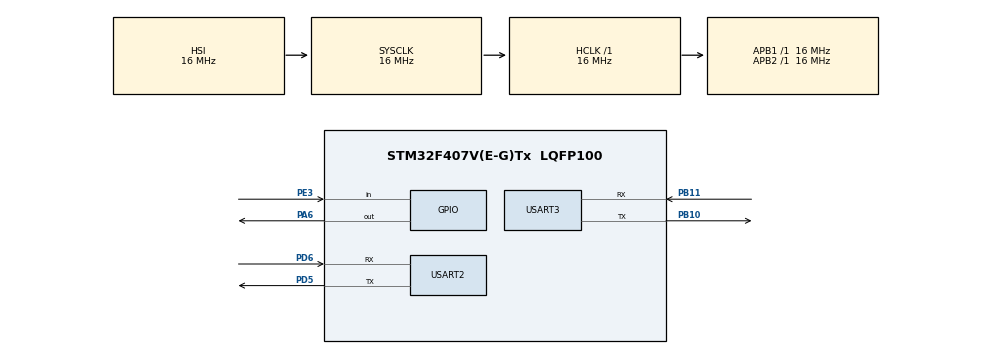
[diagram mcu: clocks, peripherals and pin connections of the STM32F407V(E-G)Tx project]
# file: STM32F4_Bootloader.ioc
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Mcu.Family=STM32F4
Mcu.Name=STM32F407V(E-G)Tx
Mcu.Package=LQFP100
NVIC.PriorityGroup=NVIC_PRIORITYGROUP_4
PA13.Mode=Serial_Wire
PA13.Signal=SYS_JTMS-SWDIO
PA14.Mode=Serial_Wire
PA14.Signal=SYS_JTCK-SWCLK
PA6.Signal=GPIO_Output
PB10.Mode=Asynchronous
PB10.Signal=USART3_TX
PB11.Mode=Asynchronous
PB11.Signal=USART3_RX
PD5.Mode=Asynchronous
PD5.Signal=USART2_TX
PD6.Mode=Asynchronous
PD6.Signal=USART2_RX
PE3.GPIO_PuPd=GPIO_PULLUP
PE3.Signal=GPIO_Input
ProjectManager.HeapSize=0x200
ProjectManager.StackSize=0x400
ProjectManager.TargetToolchain=STM32CubeIDE
RCC.AHBFreq_Value=16000000
RCC.APB1Freq_Value=16000000
RCC.APB2Freq_Value=16000000
RCC.CortexFreq_Value=16000000
RCC.HSE_VALUE=25000000
RCC.HSI_VALUE=16000000
RCC.LSE_VALUE=32768
RCC.SYSCLKFreq_VALUE=16000000
RCC.VCOOutputFreq_Value=192000000
USART2.VirtualMode=VM_ASYNC
USART3.VirtualMode=VM_ASYNC
board=custom

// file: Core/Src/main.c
/* USER CODE BEGIN Header */
/**
  ******************************************************************************
  * @file           : main.c
  * @brief          : Main program body
  ******************************************************************************
  * @attention
  *
  * Copyright (c) 2024 STMicroelectronics.
  * All rights reserved.
  *
  * This software is licensed under terms that can be found in the LICENSE file
  * in the root directory of this software component.
  * If no LICENSE file comes with this software, it is provided AS-IS.
  *
  ******************************************************************************
  */
/* USER CODE END Header */
#include "main.h"

/* USER CODE BEGIN Includes */
#include <stdio.h>
#include "ota_update.h"

/* USER CODE END Includes */

/* USER CODE BEGIN PM */
#define MAJOR 0   // BL Major version Number
#define MINOR 2   // BL Minor version Number
/* USER CODE END PM */

UART_HandleTypeDef huart2;
UART_HandleTypeDef huart3;

/* USER CODE BEGIN PV */
const uint8_t BL_Version[2] = { MAJOR, MINOR };
/* USER CODE END PV */

void SystemClock_Config(void);
static void MX_GPIO_Init(void);
static void MX_USART3_UART_Init(void);
static void MX_USART2_UART_Init(void);
/* USER CODE BEGIN PFP */
static void goto_application( void );
/* USER CODE END PFP */

int main(void)
{

  /* MCU Configuration--------------------------------------------------------*/

  /* Reset of all peripherals, Initializes the Flash interface and the Systick. */
  HAL_Init();

  /* Configure the system clock */
  SystemClock_Config();

  /* Initialize all configured peripherals */
  MX_GPIO_Init();
  MX_USART3_UART_Init();
  MX_USART2_UART_Init();
  /* USER CODE BEGIN 2 */
  printf("Starting Bootloader(%d.%d)\r\n", BL_Version[0], BL_Version[1] );
  HAL_GPIO_WritePin(GPIOA,GPIO_PIN_6,0); // Turn ON led
  // HAL_Delay(1000);

  GPIO_PinState OTA_Pin_state;
  uint32_t end_tick = HAL_GetTick() + 3000;   // from now to 3 Seconds
  printf("Press the User Button PC13 to trigger OTA update...\r\n");
   do
    {
      OTA_Pin_state = HAL_GPIO_ReadPin( GPIOE, GPIO_PIN_3 ); //GPIO PE3 pull up
      uint32_t current_tick = HAL_GetTick();

      /* Check the button is pressed or not for 3seconds */
      if( ( OTA_Pin_state != GPIO_PIN_SET ) || ( current_tick > end_tick ) )
      {
        /* Either timeout or Button is pressed */
        break;
      }
    }while( 1 );
   /*Start the Firmware or Application update */
     if( OTA_Pin_state == GPIO_PIN_RESET )
     {
       printf("Starting Firmware Download!!!\r\n");
       /* OTA Request. Receive the data from the UART4 and flash */
       if( etx_ota_download_and_flash() != ETX_OTA_EX_OK )
       {
         /* Error. Don't process. */
         printf("OTA Update : ERROR!!! HALT!!!\r\n");
         while( 1 );
       }
       else
       {
         /* Reset to load the new application */
         printf("Firmware update is done!!! Rebooting...\r\n");
         HAL_NVIC_SystemReset();
       }
     }
  // Jump to application
  goto_application();
  /* USER CODE END 2 */

  /* Infinite loop */
  while (1)
  {

  }
}

void SystemClock_Config(void)
{
  RCC_OscInitTypeDef RCC_OscInitStruct = {0};
  RCC_ClkInitTypeDef RCC_ClkInitStruct = {0};

  /** Configure the main internal regulator output voltage
  */
  __HAL_RCC_PWR_CLK_ENABLE();
  __HAL_PWR_VOLTAGESCALING_CONFIG(PWR_REGULATOR_VOLTAGE_SCALE1);

  /** Initializes the RCC Oscillators according to the specified parameters
  * in the RCC_OscInitTypeDef structure.
  */
  RCC_OscInitStruct.OscillatorType = RCC_OSCILLATORTYPE_HSI;
  RCC_OscInitStruct.HSIState = RCC_HSI_ON;
  RCC_OscInitStruct.HSICalibrationValue = RCC_HSICALIBRATION_DEFAULT;
  RCC_OscInitStruct.PLL.PLLState = RCC_PLL_NONE;
  if (HAL_RCC_OscConfig(&RCC_OscInitStruct) != HAL_OK)
  {
    Error_Handler();
  }

  /** Initializes the CPU, AHB and APB buses clocks
  */
  RCC_ClkInitStruct.ClockType = RCC_CLOCKTYPE_HCLK|RCC_CLOCKTYPE_SYSCLK
                              |RCC_CLOCKTYPE_PCLK1|RCC_CLOCKTYPE_PCLK2;
  RCC_ClkInitStruct.SYSCLKSource = RCC_SYSCLKSOURCE_HSI;
  RCC_ClkInitStruct.AHBCLKDivider = RCC_SYSCLK_DIV1;
  RCC_ClkInitStruct.APB1CLKDivider = RCC_HCLK_DIV1;
  RCC_ClkInitStruct.APB2CLKDivider = RCC_HCLK_DIV1;

  if (HAL_RCC_ClockConfig(&RCC_ClkInitStruct, FLASH_LATENCY_0) != HAL_OK)
  {
    Error_Handler();
  }
}

static void MX_USART2_UART_Init(void)
{

  huart2.Instance = USART2;
  huart2.Init.BaudRate = 115200;
  huart2.Init.WordLength = UART_WORDLENGTH_8B;
  huart2.Init.StopBits = UART_STOPBITS_1;
  huart2.Init.Parity = UART_PARITY_NONE;
  huart2.Init.Mode = UART_MODE_TX_RX;
  huart2.Init.HwFlowCtl = UART_HWCONTROL_NONE;
  huart2.Init.OverSampling = UART_OVERSAMPLING_16;
  if (HAL_UART_Init(&huart2) != HAL_OK)
  {
    Error_Handler();
  }

}

static void MX_USART3_UART_Init(void)
{

  huart3.Instance = USART3;
  huart3.Init.BaudRate = 115200;
  huart3.Init.WordLength = UART_WORDLENGTH_8B;
  huart3.Init.StopBits = UART_STOPBITS_1;
  huart3.Init.Parity = UART_PARITY_NONE;
  huart3.Init.Mode = UART_MODE_TX_RX;
  huart3.Init.HwFlowCtl = UART_HWCONTROL_NONE;
  huart3.Init.OverSampling = UART_OVERSAMPLING_16;
  if (HAL_UART_Init(&huart3) != HAL_OK)
  {
    Error_Handler();
  }

}

static void MX_GPIO_Init(void)
{
  GPIO_InitTypeDef GPIO_InitStruct = {0};

  /* GPIO Ports Clock Enable */
  __HAL_RCC_GPIOE_CLK_ENABLE();
  __HAL_RCC_GPIOA_CLK_ENABLE();
  __HAL_RCC_GPIOB_CLK_ENABLE();
  __HAL_RCC_GPIOD_CLK_ENABLE();

  /*Configure GPIO pin Output Level */
  HAL_GPIO_WritePin(GPIOA, GPIO_PIN_6, GPIO_PIN_RESET);

  /*Configure GPIO pin : PE3 */
  GPIO_InitStruct.Pin = GPIO_PIN_3;
  GPIO_InitStruct.Mode = GPIO_MODE_INPUT;
  GPIO_InitStruct.Pull = GPIO_PULLUP;
  HAL_GPIO_Init(GPIOE, &GPIO_InitStruct);

  /*Configure GPIO pin : PA6 */
  GPIO_InitStruct.Pin = GPIO_PIN_6;
  GPIO_InitStruct.Mode = GPIO_MODE_OUTPUT_PP;
  GPIO_InitStruct.Pull = GPIO_NOPULL;
  GPIO_InitStruct.Speed = GPIO_SPEED_FREQ_LOW;
  HAL_GPIO_Init(GPIOA, &GPIO_InitStruct);

}

/* USER CODE BEGIN 4 */
/**
  * @brief Print the characters to UART (printf).
  * @retval int
  */
#ifdef __GNUC__
  /* With GCC, small printf (option LD Linker->Libraries->Small printf
     set to 'Yes') calls __io_putchar() */
int __io_putchar(int ch)
#else
int fputc(int ch, FILE *f)
#endif /* __GNUC__ */
{
  /* Place your implementation of fputc here */
  /* e.g. write a character to the UART3 and Loop until the end of transmission */
  HAL_UART_Transmit(&huart3, (uint8_t *)&ch, 1, HAL_MAX_DELAY);

  return ch;
}
/**
  * @brief Jump to application from the Bootloader
  * @retval None
  */
static void goto_application(void)
{
  printf("Gonna Jump to Application\r\n");
  void (*app_reset_handler)(void) = (void*)(*((volatile uint32_t*) (0x08040000 + 4U)));
  HAL_GPIO_WritePin(GPIOA, GPIO_PIN_6, 1);    //Green LED OFF

//  /* Reset the Clock */
  HAL_RCC_DeInit();
  HAL_DeInit();
  __set_MSP(*(volatile uint32_t*) 0x08040000);
  SysTick->CTRL = 0;
  SysTick->LOAD = 0;
  SysTick->VAL = 0;

  /* Jump to application */
  app_reset_handler();    //call the app reset handler
}
/* USER CODE END 4 */

void Error_Handler(void)
{
  __disable_irq();
  while (1)
  {
  }
}
